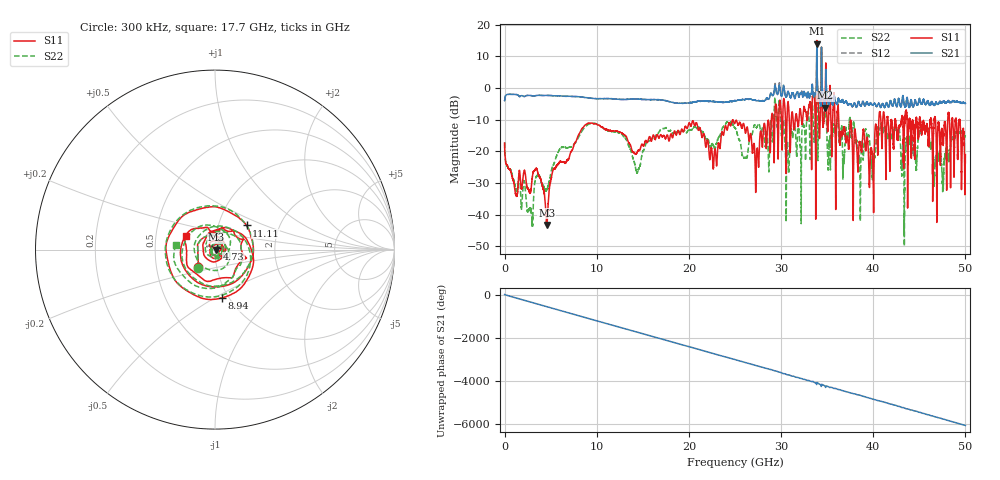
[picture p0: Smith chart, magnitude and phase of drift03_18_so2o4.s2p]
!Created with skrf (http://scikit-rf.org).
# Hz S RI R 50.0
!freq ReS11 ImS11 ReS21 ImS21 ReS12 ImS12 ReS22 ImS22
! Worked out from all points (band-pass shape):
!   10001 points, 300 kHz to 50 GHz, reference 50 ohm
!   highest |S21| = 14.02 dB at 33.88 GHz (marker M1); lowest = -6.3 dB at 34.79 GHz (marker M2)
!   |S21| within 3 dB of the highest: 33.86947 GHz to 33.88931 GHz (19.84 MHz wide, 0.0586 % of centre); 34.37711 GHz to 34.39091 GHz (13.79 MHz wide, 0.0401 % of centre)
!   lowest |S11| = -43.2 dB at 4.57 GHz (marker M3), VSWR 1.01, Z = 50.7 - j0.084 ohm
!   |S11| at or under -10 dB: start of sweep to 28.94 GHz; 36.26 GHz to 40.61 GHz (4.346 GHz wide, 11.3 % of centre); 46.74 GHz to 48.09 GHz (1.341 GHz wide, 2.83 % of centre) (the widest 3 of 50)
!   |S22| runs from -49.9 to 10.5 dB; largest |S21 - S12| = 0.78
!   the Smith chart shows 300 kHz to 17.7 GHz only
!   S11 on the Smith chart (normalised r, x): 300 kHz: 0.82, -0.16; 4.73 GHz: 1.03, +0.01; 8.94 GHz: 0.93, -0.54; 11.11 GHz: 1.36, +0.39; 17.7 GHz: 0.72, +0.11
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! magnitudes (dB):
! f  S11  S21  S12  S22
! 300 kHz  -17.4  -4.0  -4.1  -17.1
! 2.83 GHz  -32.5  -2.4  -2.4  -38.3
! 4.57 GHz  -43.2  -2.3  -2.3  -32.1
! 4.73 GHz  -36.5  -2.3  -2.3  -30.8
! 8.335 GHz  -13.1  -2.9  -2.8  -13.9
! 8.94 GHz  -11.3  -3.1  -3.1  -11.8
! 11.11 GHz  -13.1  -3.4  -3.4  -13.3
! 14.43 GHz  -20.0  -3.5  -3.5  -26.5
! 16.67 GHz  -15.5  -3.7  -3.7  -14.3
! 17.7 GHz  -15.0  -4.1  -4.2  -13.2
! 22.82 GHz  -19.3  -4.3  -4.3  -19.0
! 25 GHz  -11.0  -4.0  -4.0  -12.6
! 27.39 GHz  -19.3  -4.1  -4.1  -12.3
! 29.6 GHz  -10.4  -2.0  -2.1  -11.8
! 30.7 GHz  -5.6  -1.4  -1.5  -17.1
! 33.34 GHz  -13.9  -0.5  -0.6  -7.3
! 33.88 GHz  15.0  14.0  13.7  10.5
! 34.79 GHz  -3.2  -6.3  -4.9  -8.6
! 39.82 GHz  -19.2  -5.0  -4.9  -23.9
! 41.67 GHz  -12.4  -6.0  -6.0  -15.3
! 47.58 GHz  -17.5  -4.3  -4.2  -29.7
! 50 GHz  -21.0  -4.9  -4.9  -15.0
